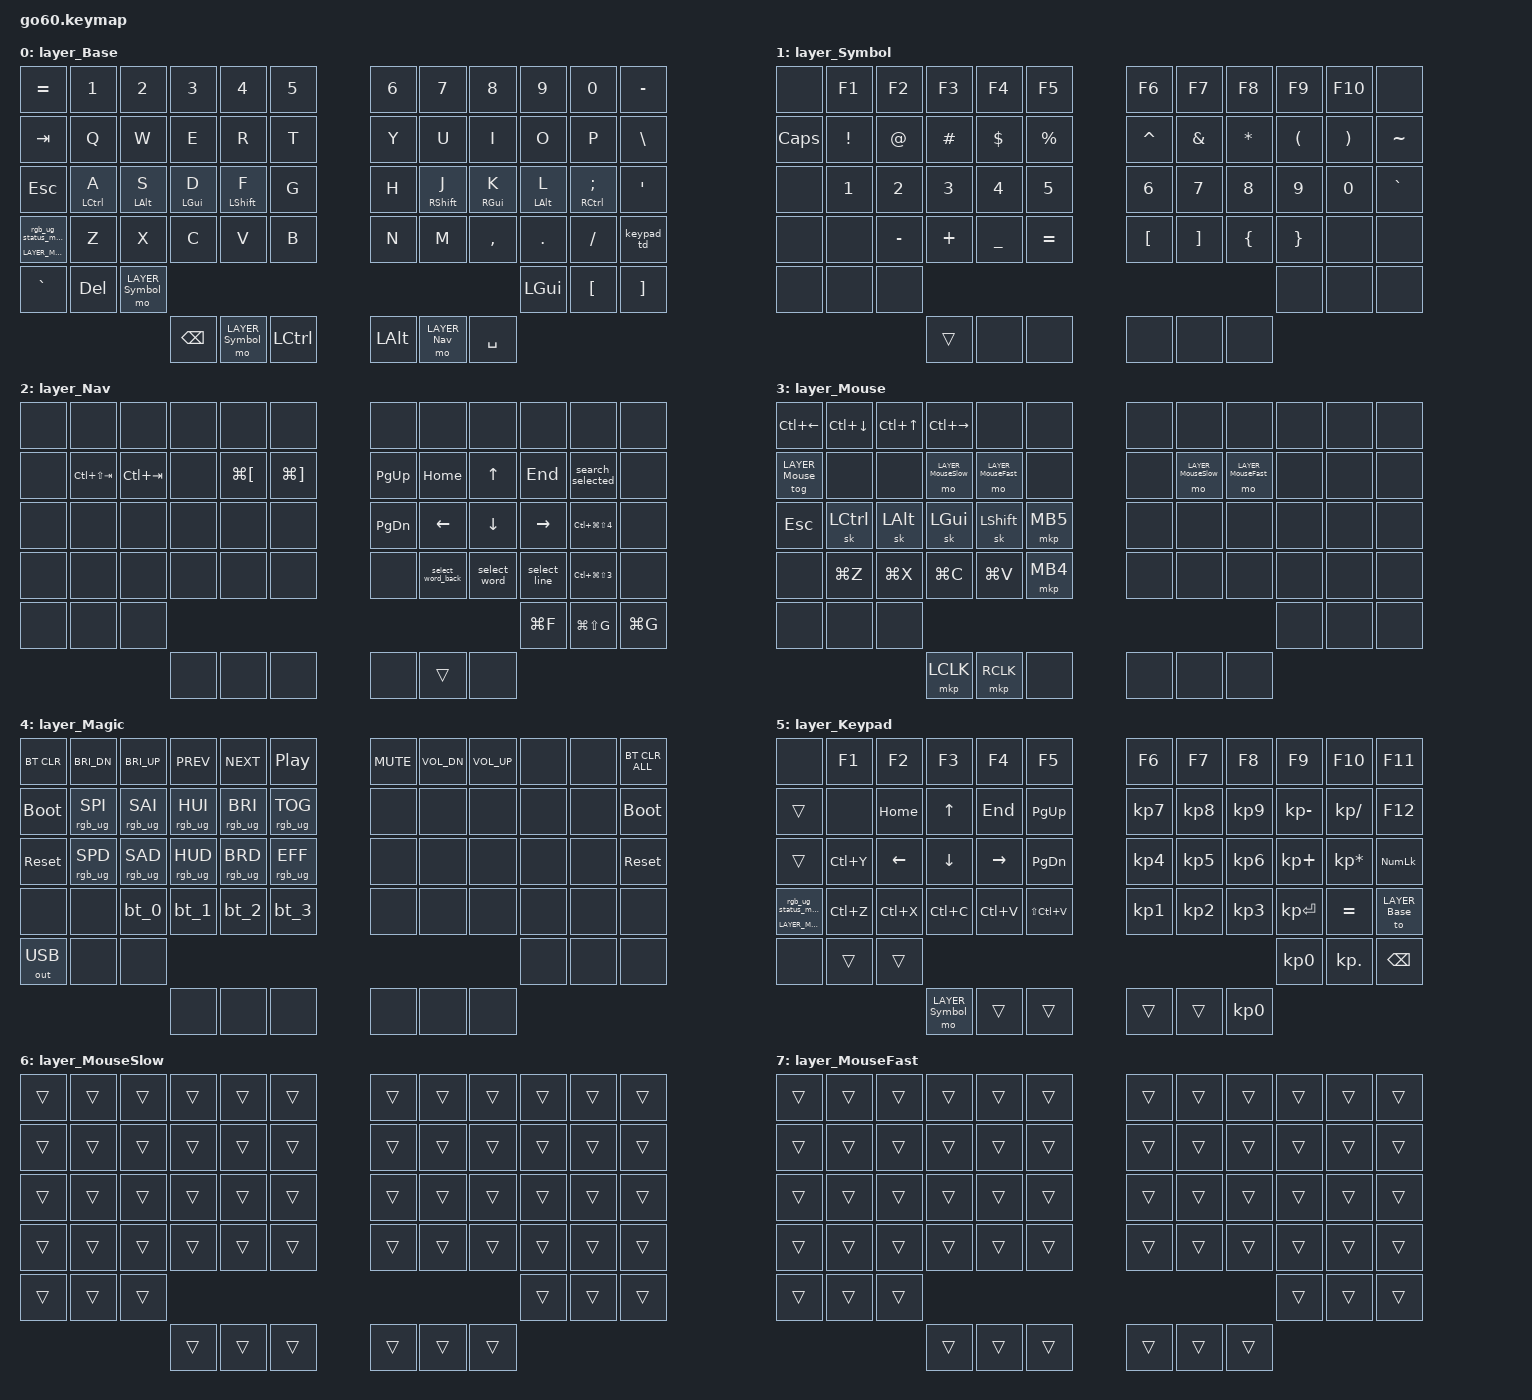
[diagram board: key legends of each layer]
/*
 * Copyright (c) 2020 The ZMK Contributors
 *
 * SPDX-License-Identifier: MIT
 */

#include <behaviors.dtsi>

#include <dt-bindings/zmk/bt.h>
#include <dt-bindings/zmk/ext_power.h>
#include <dt-bindings/zmk/keys.h>
#include <dt-bindings/zmk/outputs.h>
#include <dt-bindings/zmk/rgb.h>
#include <dt-bindings/zmk/input_transform.h>
#include <dt-bindings/zmk/pointing.h>

#include <input/processors.dtsi>
#include <zephyr/dt-bindings/input/input-event-codes.h>

// layers
#define LAYER_Base 0
#define LAYER_Symbol 1
#define LAYER_Nav 2
#define LAYER_Mouse 3
#define LAYER_Magic 4
#define LAYER_Keypad 5
#define LAYER_MouseSlow 6
#define LAYER_MouseFast 7

// Key positions per hand, used for positional home row mods.
// Left-hand keys trigger holds only when followed by a right-hand key or thumb,
// and vice versa, which prevents accidental mods during same-hand rolls.
#define KEYS_L  0  1  2  3  4  5 12 13 14 15 16 17 24 25 26 27 28 29 36 37 38 39 40 41 48 49 50
#define KEYS_R  6  7  8  9 10 11 18 19 20 21 22 23 30 31 32 33 34 35 42 43 44 45 46 47 51 52 53
#define THUMBS 54 55 56 57 58 59

/ {
    input_processors {
        zip_click_to_right_click_mapper: zip_click_to_right_click_mapper {
            compatible = "zmk,input-processor-code-mapper";
            #input-processor-cells = <0>;
            type = <INPUT_EV_KEY>;
            map = <INPUT_BTN_0 INPUT_BTN_1>;
        };
    };

    behaviors {
        magic: magic {
            compatible = "zmk,behavior-hold-tap";
            #binding-cells = <2>;
            flavor = "tap-preferred";
            tapping-term-ms = <200>;
            bindings = <&mo>, <&rgb_ug_status_macro>;
        };

        // Per-finger home row mods. Hold for a modifier, tap for the letter.
        // Left-hand keys only trigger a hold when followed by a right-hand or
        // thumb key (and vice versa) to avoid mods during same-hand rolls.
        // Index fingers use a shorter require-prior-idle-ms since they are the
        // most dexterous and least prone to misfires.
        hml_pinky: home_row_mod_left_pinky {
            compatible = "zmk,behavior-hold-tap";
            #binding-cells = <2>;
            flavor = "balanced";
            tapping-term-ms = <280>;
            quick-tap-ms = <125>;
            require-prior-idle-ms = <150>;
            bindings = <&kp>, <&kp>;
            hold-trigger-key-positions = <KEYS_R THUMBS>;
        };

        hml_ring: home_row_mod_left_ring {
            compatible = "zmk,behavior-hold-tap";
            #binding-cells = <2>;
            flavor = "balanced";
            tapping-term-ms = <280>;
            quick-tap-ms = <125>;
            require-prior-idle-ms = <150>;
            bindings = <&kp>, <&kp>;
            hold-trigger-key-positions = <KEYS_R THUMBS>;
        };

        hml_middle: home_row_mod_left_middle {
            compatible = "zmk,behavior-hold-tap";
            #binding-cells = <2>;
            flavor = "balanced";
            tapping-term-ms = <280>;
            quick-tap-ms = <125>;
            require-prior-idle-ms = <150>;
            bindings = <&kp>, <&kp>;
            hold-trigger-key-positions = <KEYS_R THUMBS>;
        };

        hml_index: home_row_mod_left_index {
            compatible = "zmk,behavior-hold-tap";
            #binding-cells = <2>;
            flavor = "balanced";
            tapping-term-ms = <280>;
            quick-tap-ms = <125>;
            require-prior-idle-ms = <100>;
            bindings = <&kp>, <&kp>;
            hold-trigger-key-positions = <KEYS_R THUMBS>;
        };

        hmr_index: home_row_mod_right_index {
            compatible = "zmk,behavior-hold-tap";
            #binding-cells = <2>;
            flavor = "balanced";
            tapping-term-ms = <280>;
            quick-tap-ms = <125>;
            require-prior-idle-ms = <100>;
            bindings = <&kp>, <&kp>;
            hold-trigger-key-positions = <KEYS_L THUMBS>;
        };

        hmr_middle: home_row_mod_right_middle {
            compatible = "zmk,behavior-hold-tap";
            #binding-cells = <2>;
            flavor = "balanced";
            tapping-term-ms = <280>;
            quick-tap-ms = <125>;
            require-prior-idle-ms = <150>;
            bindings = <&kp>, <&kp>;
            hold-trigger-key-positions = <KEYS_L THUMBS>;
        };

        hmr_ring: home_row_mod_right_ring {
            compatible = "zmk,behavior-hold-tap";
            #binding-cells = <2>;
            flavor = "balanced";
            tapping-term-ms = <280>;
            quick-tap-ms = <125>;
            require-prior-idle-ms = <150>;
            bindings = <&kp>, <&kp>;
            hold-trigger-key-positions = <KEYS_L THUMBS>;
        };

        hmr_pinky: home_row_mod_right_pinky {
            compatible = "zmk,behavior-hold-tap";
            #binding-cells = <2>;
            flavor = "balanced";
            tapping-term-ms = <280>;
            quick-tap-ms = <125>;
            require-prior-idle-ms = <150>;
            bindings = <&kp>, <&kp>;
            hold-trigger-key-positions = <KEYS_L THUMBS>;
        };

        keypad_td: keypad_td {
            compatible = "zmk,behavior-tap-dance";
            #binding-cells = <0>;
            tapping-term-ms = <200>;
            bindings = <&mo LAYER_Keypad>, <&to LAYER_Keypad>;
        };

        bt_0: bt_0 {
            compatible = "zmk,behavior-tap-dance";
            #binding-cells = <0>;
            tapping-term-ms = <200>;
            bindings = <&bt_select_0>, <&bt BT_DISC 0>;
        };
        bt_1: bt_1 {
            compatible = "zmk,behavior-tap-dance";
            #binding-cells = <0>;
            tapping-term-ms = <200>;
            bindings = <&bt_select_1>, <&bt BT_DISC 1>;
        };
        bt_2: bt_2 {
            compatible = "zmk,behavior-tap-dance";
            #binding-cells = <0>;
            tapping-term-ms = <200>;
            bindings = <&bt_select_2>, <&bt BT_DISC 2>;
        };
        bt_3: bt_3 {
            compatible = "zmk,behavior-tap-dance";
            #binding-cells = <0>;
            tapping-term-ms = <200>;
            bindings = <&bt_select_3>, <&bt BT_DISC 3>;
        };
    };

    macros {
        rgb_ug_status_macro: rgb_ug_status_macro {
            compatible = "zmk,behavior-macro";
            #binding-cells = <0>;
            bindings = <&rgb_ug RGB_STATUS>;
        };

        bt_select_0: bt_select_0 {
            compatible = "zmk,behavior-macro";
            #binding-cells = <0>;
            bindings
                = <&out OUT_BLE>,
                  <&bt BT_SEL 0>;
        };
        bt_select_1: bt_select_1 {
            compatible = "zmk,behavior-macro";
            #binding-cells = <0>;
            bindings
                = <&out OUT_BLE>,
                  <&bt BT_SEL 1>;
        };
        bt_select_2: bt_select_2 {
            compatible = "zmk,behavior-macro";
            #binding-cells = <0>;
            bindings
                = <&out OUT_BLE>,
                  <&bt BT_SEL 2>;
        };
        bt_select_3: bt_select_3 {
            compatible = "zmk,behavior-macro";
            #binding-cells = <0>;
            bindings
                = <&out OUT_BLE>,
                  <&bt BT_SEL 3>;
        };

        // macOS "select whole line": jump to line start, then select to line end.
        select_line: select_line {
            compatible = "zmk,behavior-macro";
            #binding-cells = <0>;
            wait-ms = <5>;
            tap-ms = <5>;
            bindings = <&kp LG(LEFT)>, <&kp LG(LS(RIGHT))>;
        };

        // "Search selected text": copy selection, open a new browser tab,
        // paste, and hit Enter to run the search.
        search_selected: search_selected {
            compatible = "zmk,behavior-macro";
            #binding-cells = <0>;
            wait-ms = <50>;
            tap-ms = <5>;
            bindings = <&kp LG(C)>, <&kp LG(T)>, <&kp LG(V)>, <&kp RET>;
        };

        // Select whole word forward (macOS), mirroring zwang695's sequence:
        // jump to end of word, back to its start, then select forward a word.
        select_word: select_word {
            compatible = "zmk,behavior-macro";
            #binding-cells = <0>;
            wait-ms = <5>;
            tap-ms = <5>;
            bindings = <&kp LA(RIGHT)>, <&kp LA(LEFT)>, <&kp LA(LS(RIGHT))>;
        };

        // Select whole word backward: jump to start of word, to its end,
        // then select backward a word.
        select_word_back: select_word_back {
            compatible = "zmk,behavior-macro";
            #binding-cells = <0>;
            wait-ms = <5>;
            tap-ms = <5>;
            bindings = <&kp LA(LEFT)>, <&kp LA(RIGHT)>, <&kp LA(LS(LEFT))>;
        };
    };

    combos {
        compatible = "zmk,combos";

        // Press K + L together (within 60ms) to send Enter.
        combo_enter {
            timeout-ms = <60>;
            key-positions = <32 33>;
            bindings = <&kp RET>;
            layers = <LAYER_Base>;
        };

        // F1-F11: press a number-row key together with the key directly below
        // it (column-aligned). 1+Q=F1 ... 0+P=F10, MINUS+BSLH=F11.
        // F12: the two rightmost number-row keys together (0 + MINUS).
        combo_f1  { timeout-ms = <50>; key-positions = <1 13>;  bindings = <&kp F1>;  layers = <LAYER_Base>; };
        combo_f2  { timeout-ms = <50>; key-positions = <2 14>;  bindings = <&kp F2>;  layers = <LAYER_Base>; };
        combo_f3  { timeout-ms = <50>; key-positions = <3 15>;  bindings = <&kp F3>;  layers = <LAYER_Base>; };
        combo_f4  { timeout-ms = <50>; key-positions = <4 16>;  bindings = <&kp F4>;  layers = <LAYER_Base>; };
        combo_f5  { timeout-ms = <50>; key-positions = <5 17>;  bindings = <&kp F5>;  layers = <LAYER_Base>; };
        combo_f6  { timeout-ms = <50>; key-positions = <6 18>;  bindings = <&kp F6>;  layers = <LAYER_Base>; };
        combo_f7  { timeout-ms = <50>; key-positions = <7 19>;  bindings = <&kp F7>;  layers = <LAYER_Base>; };
        combo_f8  { timeout-ms = <50>; key-positions = <8 20>;  bindings = <&kp F8>;  layers = <LAYER_Base>; };
        combo_f9  { timeout-ms = <50>; key-positions = <9 21>;  bindings = <&kp F9>;  layers = <LAYER_Base>; };
        combo_f10 { timeout-ms = <50>; key-positions = <10 22>; bindings = <&kp F10>; layers = <LAYER_Base>; };
        combo_f11 { timeout-ms = <50>; key-positions = <11 23>; bindings = <&kp F11>; layers = <LAYER_Base>; };
        combo_f12 { timeout-ms = <50>; key-positions = <10 11>; bindings = <&kp F12>; layers = <LAYER_Base>; };
    };

    keymap {
        compatible = "zmk,keymap";
        layer_Base {
            bindings = <
            &kp EQUAL  &kp N1     &kp N2   &kp N3    &kp N4  &kp N5                                                      &kp N6    &kp N7     &kp N8    &kp N9    &kp N0           &kp MINUS
              &kp TAB   &kp Q      &kp W    &kp E     &kp R   &kp T                                                       &kp Y     &kp U      &kp I     &kp O     &kp P            &kp BSLH
              &kp ESC   &hml_pinky LCTRL A  &hml_ring LALT S  &hml_middle LGUI D  &hml_index LSHFT F   &kp G                  &kp H  &hmr_index RSHFT J  &hmr_middle RGUI K  &hmr_ring LALT L  &hmr_pinky RCTRL SEMI    &kp SQT
 &magic LAYER_Magic 0   &kp Z      &kp X    &kp C     &kp V   &kp B                                                       &kp N     &kp M  &kp COMMA   &kp DOT  &kp FSLH          &keypad_td
                               &kp GRAVE  &kp DEL     &mo LAYER_Symbol                                                            &kp LGUI   &kp LBKT  &kp RBKT
                                                        &kp BSPC  &mo LAYER_Symbol  &kp LCTRL     &kp LALT  &mo LAYER_Nav  &kp SPACE  
            >;
        };

        // Top row = F1-F10, second row = the shifted number symbols
        // (! @ # $ % ^ & * ( )), third row = numbers 1-0 aligned beneath them.
        // Momentary-only: held via the left thumb or the lower-row key; no lock.
        layer_Symbol {
            bindings = <
            &none  &kp F1    &kp F2  &kp F3    &kp F4    &kp F5                          &kp F6     &kp F7    &kp F8    &kp F9    &kp F10  &none
            &kp CAPS  &kp EXCL  &kp AT  &kp HASH  &kp DLLR  &kp PRCNT                       &kp CARET  &kp AMPS  &kp STAR  &kp LPAR  &kp RPAR &kp TILDE
            &none  &kp N1    &kp N2  &kp N3    &kp N4    &kp N5                          &kp N6     &kp N7    &kp N8    &kp N9    &kp N0   &kp GRAVE
            &none  &none     &kp MINUS  &kp PLUS  &kp UNDER  &kp EQUAL                    &kp LBKT   &kp RBKT  &kp LBRC  &kp RBRC  &none    &none
                             &none   &none     &none                                                          &none     &none     &none
                                                         &trans  &none  &none      &none  &none  &none
            >;
        };

        // Navigation layer (hold the right thumb key). All shortcuts are macOS.
        //   Tabs:    q=prev tab   w=next tab
        //   Browser: r=back       t=forward
        //   Arrows:  i=up j=left k=down l=right    (vim-ish on the right hand)
        //   Paging:  y=page up    h=page down      u=home   o=end
        //   Select:  m=word back  ,=word fwd       .=whole line
        //   Search:  p=search selected text        find/prev/next under m , .
        //   Screens: ;=copy area screenshot        /=copy full screenshot
        // Everything else is &none so unassigned keys do nothing while held.
        layer_Nav {
            bindings = <
            &none   &none           &none        &none   &none          &none                         &none      &none            &none             &none         &none               &none
            &none   &kp LC(LS(TAB)) &kp LC(TAB)  &none   &kp LG(LBKT)   &kp LG(RBKT)                  &kp PG_UP  &kp HOME         &kp UP            &kp END       &search_selected    &none
            &none   &none           &none        &none   &none          &none                         &kp PG_DN  &kp LEFT         &kp DOWN          &kp RIGHT     &kp LC(LG(LS(N4)))  &none
            &none   &none           &none        &none   &none          &none                         &none      &select_word_back &select_word &select_line  &kp LC(LG(LS(N3)))  &none
                                    &none        &none   &none                                                                    &kp LG(F)         &kp LG(LS(G)) &kp LG(G)
                                                                        &none   &none  &none       &none   &trans  &none
            >;
        };

        // Mouse layer (auto-activated by touching a trackpad via zip_temp_layer).
        // Top-left row = macOS Mission Control nav, vim order h/j/k/l:
        // 1=Left(prev space), 2=Down(App Expose), 3=Up(Mission Control), 4=Right(next space).
        // Left hand = clicks, sticky mods, undo/cut/copy/paste; thumbs = clicks.
        layer_Mouse {
            bindings = <
            &kp LC(LEFT)       &kp LC(DOWN) &kp LC(UP) &kp LC(RIGHT)       &none                &none                   &none  &none                &none                &none  &none  &none
            &tog LAYER_Mouse   &none      &none      &mo LAYER_MouseSlow  &mo LAYER_MouseFast  &none                   &none  &mo LAYER_MouseSlow  &mo LAYER_MouseFast  &none  &none  &none
            &kp ESC            &sk LCTRL  &sk LALT   &sk LGUI             &sk LSHFT            &mkp MB5                 &none  &none                &none                &none  &none  &none
            &none              &kp LG(Z)  &kp LG(X)  &kp LG(C)            &kp LG(V)            &mkp MB4                 &none  &none                &none                &none  &none  &none
                                          &none      &none               &none                                                            &none  &none  &none
                                                                         &mkp LCLK  &mkp RCLK  &none      &none  &none  &none
            >;
        };

        layer_Magic {
            bindings = <
  &bt BT_CLR     &kp C_BRI_DN     &kp C_BRI_UP       &kp C_PREV       &kp C_NEXT         &kp C_PP                                &kp C_MUTE  &kp C_VOL_DN  &kp C_VOL_UP   &none   &none    &bt BT_CLR_ALL
 &bootloader  &rgb_ug RGB_SPI  &rgb_ug RGB_SAI  &rgb_ug RGB_HUI  &rgb_ug RGB_BRI  &rgb_ug RGB_TOG                                     &none         &none         &none   &none   &none       &bootloader
  &sys_reset  &rgb_ug RGB_SPD  &rgb_ug RGB_SAD  &rgb_ug RGB_HUD  &rgb_ug RGB_BRD  &rgb_ug RGB_EFF                                     &none         &none         &none   &none   &none        &sys_reset
       &none            &none            &bt_0            &bt_1            &bt_2            &bt_3                                     &none         &none         &none   &none   &none         &none
                                  &out OUT_USB            &none            &none                                                                    &none         &none   &none
                                                                                            &none   &none   &none     &none   &none   &none
            >;
        };

        layer_Keypad {
            bindings = <
                &none     &kp F1     &kp F2     &kp F3     &kp F4         &kp F5                                                 &kp F6     &kp F7      &kp F8        &kp F9          &kp F10        &kp F11
               &trans      &none   &kp HOME     &kp UP    &kp END      &kp PG_UP                                              &kp KP_N7  &kp KP_N8   &kp KP_N9  &kp KP_MINUS     &kp KP_SLASH        &kp F12
               &trans  &kp LC(Y)   &kp LEFT   &kp DOWN  &kp RIGHT      &kp PG_DN                                              &kp KP_N4  &kp KP_N5   &kp KP_N6   &kp KP_PLUS  &kp KP_MULTIPLY     &kp KP_NUM
 &magic LAYER_Magic 0  &kp LC(Z)  &kp LC(X)  &kp LC(C)  &kp LC(V)  &kp LS(LC(V))                                              &kp KP_N1  &kp KP_N2   &kp KP_N3  &kp KP_ENTER        &kp EQUAL &to LAYER_Base
                                      &none     &trans     &trans                                                                        &kp KP_N0  &kp KP_DOT      &kp BSPC
                                                             &mo LAYER_Symbol  &trans  &trans              &trans  &trans  &kp KP_N0
            >;
        };

        // Speed-shift layers: pure pass-through; they only retune the pad
        // input-processors (see the cirque listeners below).
        layer_MouseSlow {
            bindings = <
            &trans  &trans  &trans  &trans  &trans  &trans                          &trans  &trans  &trans  &trans  &trans  &trans
            &trans  &trans  &trans  &trans  &trans  &trans                          &trans  &trans  &trans  &trans  &trans  &trans
            &trans  &trans  &trans  &trans  &trans  &trans                          &trans  &trans  &trans  &trans  &trans  &trans
            &trans  &trans  &trans  &trans  &trans  &trans                          &trans  &trans  &trans  &trans  &trans  &trans
                            &trans  &trans  &trans                                                  &trans  &trans  &trans
                                                    &trans  &trans  &trans      &trans  &trans  &trans
            >;
        };

        layer_MouseFast {
            bindings = <
            &trans  &trans  &trans  &trans  &trans  &trans                          &trans  &trans  &trans  &trans  &trans  &trans
            &trans  &trans  &trans  &trans  &trans  &trans                          &trans  &trans  &trans  &trans  &trans  &trans
            &trans  &trans  &trans  &trans  &trans  &trans                          &trans  &trans  &trans  &trans  &trans  &trans
            &trans  &trans  &trans  &trans  &trans  &trans                          &trans  &trans  &trans  &trans  &trans  &trans
                            &trans  &trans  &trans                                                  &trans  &trans  &trans
                                                    &trans  &trans  &trans      &trans  &trans  &trans
            >;
        };
    };
};

&cirque_rh_listener {
    input-processors = <&zip_xy_scaler 3 1>, <&zip_temp_layer LAYER_Mouse 800>;
    layer_Symbol {
        layers = <LAYER_Symbol>;
        input-processors = <&zip_xy_scaler 9 1>;
    };
    layer_MouseSlow {
        layers = <LAYER_MouseSlow>;
        input-processors = <&zip_xy_scaler 2 1>;
    };
    layer_MouseFast {
        layers = <LAYER_MouseFast>;
        input-processors = <&zip_xy_scaler 8 1>;
    };
};

&cirque_lh_listener {
    // The scaler must run BEFORE zip_xy_to_scroll_mapper: the scaler only acts
    // on REL_X/REL_Y, and the scroll mapper converts those into REL_WHEEL events.
    // If the scaler ran after the mapper it would be a no-op (scroll speed fixed).
    input-processors = <&zip_xy_scaler 4 1>, <&zip_xy_transform INPUT_TRANSFORM_Y_INVERT>, <&zip_xy_to_scroll_mapper>, <&zip_click_to_right_click_mapper>, <&zip_temp_layer LAYER_Mouse 800>;
    layer_MouseSlow {
        layers = <LAYER_MouseSlow>;
        input-processors = <&zip_xy_scaler 2 1>, <&zip_xy_transform INPUT_TRANSFORM_Y_INVERT>, <&zip_xy_to_scroll_mapper>, <&zip_click_to_right_click_mapper>;
    };
    layer_MouseFast {
        layers = <LAYER_MouseFast>;
        input-processors = <&zip_xy_scaler 8 1>, <&zip_xy_transform INPUT_TRANSFORM_Y_INVERT>, <&zip_xy_to_scroll_mapper>, <&zip_click_to_right_click_mapper>;
    };
};

// Cirque sensor ADC attenuation: 1x = most sensitive (matches the board
// default), 4x = least. Kept at 1x so light initial touches always register;
// higher values can drop a soft first touch and require a re-tap.
&glidepoint {
    sensitivity = "1x";
};
